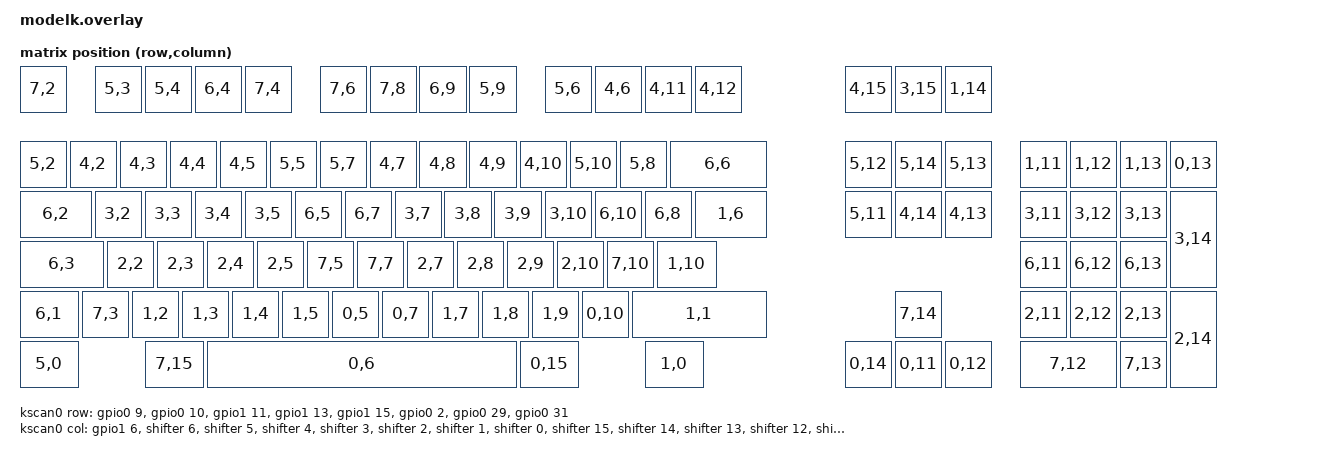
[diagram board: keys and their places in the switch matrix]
#include <dt-bindings/zmk/matrix_transform.h>
#include <physical_layouts.dtsi>
#include <dt-bindings/zmk/ext_power.h>

/ {
	modelm_layout: modelm_layout {
		compatible = "zmk,physical-layout";
		display-name = "Model M 101";
		transform = <&default_transform>;
		kscan = <&kscan0>;
		keys  //                     w   h    x    y     rot    rx    ry
		// Function key row
		= <&key_physical_attrs 100 100    0    0       0     0     0> // ESC
		, <&key_physical_attrs 100 100  150    0       0     0     0> // F1
		, <&key_physical_attrs 100 100  250    0       0     0     0> // F2
		, <&key_physical_attrs 100 100  350    0       0     0     0> // F3
		, <&key_physical_attrs 100 100  450    0       0     0     0> // F4
		, <&key_physical_attrs 100 100  600    0       0     0     0> // F5
		, <&key_physical_attrs 100 100  700    0       0     0     0> // F6
		, <&key_physical_attrs 100 100  800    0       0     0     0> // F7
		, <&key_physical_attrs 100 100  900    0       0     0     0> // F8
		, <&key_physical_attrs 100 100 1050    0       0     0     0> // F9
		, <&key_physical_attrs 100 100 1150    0       0     0     0> // F10
		, <&key_physical_attrs 100 100 1250    0       0     0     0> // F11
		, <&key_physical_attrs 100 100 1350    0       0     0     0> // F12

		// Number row
		, <&key_physical_attrs 100 100    0  150       0     0     0> // `
		, <&key_physical_attrs 100 100  100  150       0     0     0> // 1
		, <&key_physical_attrs 100 100  200  150       0     0     0> // 2
		, <&key_physical_attrs 100 100  300  150       0     0     0> // 3
		, <&key_physical_attrs 100 100  400  150       0     0     0> // 4
		, <&key_physical_attrs 100 100  500  150       0     0     0> // 5
		, <&key_physical_attrs 100 100  600  150       0     0     0> // 6
		, <&key_physical_attrs 100 100  700  150       0     0     0> // 7
		, <&key_physical_attrs 100 100  800  150       0     0     0> // 8
		, <&key_physical_attrs 100 100  900  150       0     0     0> // 9
		, <&key_physical_attrs 100 100 1000  150       0     0     0> // 0
		, <&key_physical_attrs 100 100 1100  150       0     0     0> // -
		, <&key_physical_attrs 100 100 1200  150       0     0     0> // =
			, <&key_physical_attrs 200 100 1300  150       0     0     0> // Backspace

			// Top alpha row
			, <&key_physical_attrs 150 100    0  250       0     0     0> // Tab
			, <&key_physical_attrs 100 100  150  250       0     0     0> // Q
			, <&key_physical_attrs 100 100  250  250       0     0     0> // W
			, <&key_physical_attrs 100 100  350  250       0     0     0> // E
			, <&key_physical_attrs 100 100  450  250       0     0     0> // R
			, <&key_physical_attrs 100 100  550  250       0     0     0> // T
			, <&key_physical_attrs 100 100  650  250       0     0     0> // Y
			, <&key_physical_attrs 100 100  750  250       0     0     0> // U
			, <&key_physical_attrs 100 100  850  250       0     0     0> // I
			, <&key_physical_attrs 100 100  950  250       0     0     0> // O
			, <&key_physical_attrs 100 100 1050  250       0     0     0> // P
			, <&key_physical_attrs 100 100 1150  250       0     0     0> // [
			, <&key_physical_attrs 100 100 1250  250       0     0     0> // ]
			, <&key_physical_attrs 150 100 1350  250       0     0     0> // Enter (part 1)

			// Home row
			, <&key_physical_attrs 175 100    0  350       0     0     0> // Caps Lock
			, <&key_physical_attrs 100 100  175  350       0     0     0> // A
			, <&key_physical_attrs 100 100  275  350       0     0     0> // S
			, <&key_physical_attrs 100 100  375  350       0     0     0> // D
			, <&key_physical_attrs 100 100  475  350       0     0     0> // F
			, <&key_physical_attrs 100 100  575  350       0     0     0> // G
			, <&key_physical_attrs 100 100  675  350       0     0     0> // H
			, <&key_physical_attrs 100 100  775  350       0     0     0> // J
			, <&key_physical_attrs 100 100  875  350       0     0     0> // K
			, <&key_physical_attrs 100 100  975  350       0     0     0> // L
			, <&key_physical_attrs 100 100 1075  350       0     0     0> // ;
			, <&key_physical_attrs 100 100 1175  350       0     0     0> // '
			, <&key_physical_attrs 125 100 1275  350       0     0     0> // \

			// Bottom row
			, <&key_physical_attrs 125 100    0  450       0     0     0> // LShift
			, <&key_physical_attrs 100 100  125  450       0     0     0> // GUI
			, <&key_physical_attrs 100 100  225  450       0     0     0> // Z
			, <&key_physical_attrs 100 100  325  450       0     0     0> // X
			, <&key_physical_attrs 100 100  425  450       0     0     0> // C
			, <&key_physical_attrs 100 100  525  450       0     0     0> // V
			, <&key_physical_attrs 100 100  625  450       0     0     0> // B
			, <&key_physical_attrs 100 100  725  450       0     0     0> // N
			, <&key_physical_attrs 100 100  825  450       0     0     0> // M
			, <&key_physical_attrs 100 100  925  450       0     0     0> // ,
				, <&key_physical_attrs 100 100 1025  450       0     0     0> // .
				, <&key_physical_attrs 100 100 1125  450       0     0     0> // /
				, <&key_physical_attrs 275 100 1225  450       0     0     0> // RShift

				// Bottom row modifiers
				, <&key_physical_attrs 125 100    0  550       0     0     0> // LCtrl
				, <&key_physical_attrs 125 100  250  550       0     0     0> // LAlt
				, <&key_physical_attrs 625 100  375  550       0     0     0> // Space
				, <&key_physical_attrs 125 100 1000  550       0     0     0> // RAlt/Fn
				, <&key_physical_attrs 125 100 1250  550       0     0     0> // RCtrl

				// Middle column
				, <&key_physical_attrs 100 100 1650    0       0     0     0> // Print Screen
				, <&key_physical_attrs 100 100 1750    0       0     0     0> // Scroll Lock
				, <&key_physical_attrs 100 100 1850    0       0     0     0> // Pause Break

				// Navigation cluster
				, <&key_physical_attrs 100 100 1650  150       0     0     0> // Insert
				, <&key_physical_attrs 100 100 1750  150       0     0     0> // Home
				, <&key_physical_attrs 100 100 1850  150       0     0     0> // Page Up
				, <&key_physical_attrs 100 100 1650  250       0     0     0> // Delete
				, <&key_physical_attrs 100 100 1750  250       0     0     0> // End
				, <&key_physical_attrs 100 100 1850  250       0     0     0> // Page Down

				// Arrow keys
				, <&key_physical_attrs 100 100 1750  450       0     0     0> // Up Arrow
				, <&key_physical_attrs 100 100 1650  550       0     0     0> // Left Arrow
				, <&key_physical_attrs 100 100 1750  550       0     0     0> // Down Arrow
				, <&key_physical_attrs 100 100 1850  550       0     0     0> // Right Arrow

				// Numpad
				, <&key_physical_attrs 100 100 2000  150       0     0     0> // Num Lock
				, <&key_physical_attrs 100 100 2100  150       0     0     0> // KP /
				, <&key_physical_attrs 100 100 2200  150       0     0     0> // KP *
				, <&key_physical_attrs 100 100 2300  150       0     0     0> // KP -
				, <&key_physical_attrs 100 100 2000  250       0     0     0> // KP 7
				, <&key_physical_attrs 100 100 2100  250       0     0     0> // KP 8
				, <&key_physical_attrs 100 100 2200  250       0     0     0> // KP 9
				, <&key_physical_attrs 100 200 2300  250       0     0     0> // KP +
				, <&key_physical_attrs 100 100 2000  350       0     0     0> // KP 4
				, <&key_physical_attrs 100 100 2100  350       0     0     0> // KP 5
				, <&key_physical_attrs 100 100 2200  350       0     0     0> // KP 6
				, <&key_physical_attrs 100 100 2000  450       0     0     0> // KP 1
				, <&key_physical_attrs 100 100 2100  450       0     0     0> // KP 2
				, <&key_physical_attrs 100 100 2200  450       0     0     0> // KP 3
				, <&key_physical_attrs 100 200 2300  450       0     0     0> // KP Enter
				, <&key_physical_attrs 200 100 2000  550       0     0     0> // KP 0
				, <&key_physical_attrs 100 100 2200  550       0     0     0> // KP .
				;
	};

	position_map {
		compatible = "zmk,physical-layout-position-map";

		modelm_layout {
			physical-layout = <&modelm_layout>;
			positions = <
				0 1 2 3 4 5 6 7 8 9 10 11 12
				13 14 15 16 17 18 19 20 21 22 23 24 25 26
				27 28 29 30 31 32 33 34 35 36 37 38 39 40
				41 42 43 44 45 46 47 48 49 50 51 52 53
				54 55 56 57 58 59 60 61 62 63 64 65 66
				67 68 69 70 71

				// Middle column
				72 73 74

				// Navigation cluster
				75 76 77 78 79 80

				// Arrow keys
				81 82 83 84

				// Numpad
				85 86 87 88
				89 90 91 92
				93 94 95
				96 97 98 99
				100 101
			>;
		};
	};

	chosen {
		zmk,kscan = &kscan0;
		zmk,physical-layout = &modelm_layout;
	};

	default_transform: keymap_transform_0 {
		compatible = "zmk,matrix-transform";
		columns = <16>;
		rows = <8>;

		map = <
			// Standard rows
			RC(7,2)   RC(5,3) RC(5,4) RC(6,4) RC(7,4) RC(7,6) RC(7,8) RC(6,9) RC(5,9) RC(5,6) RC(4,6) RC(4,11) RC(4,12)
			RC(5,2) RC(4,2) RC(4,3) RC(4,4) RC(4,5) RC(5,5) RC(5,7) RC(4,7) RC(4,8) RC(4,9) RC(4,10) RC(5,10) RC(5,8)    RC(6,6) /*BACKS*/
			RC(6,2) RC(3,2) RC(3,3) RC(3,4) RC(3,5) RC(6,5) RC(6,7) RC(3,7) RC(3,8) RC(3,9) RC(3,10) RC(6,10) RC(6,8)    RC(1,6) /*ENTER*/
			RC(6,3) RC(2,2) RC(2,3) RC(2,4) RC(2,5) RC(7,5) RC(7,7) RC(2,7) RC(2,8) RC(2,9) RC(2,10) RC(7,10) RC(1,10)  /* rest of ENTER */
			RC(6,1) RC(7,3) RC(1,2) RC(1,3) RC(1,4) RC(1,5) RC(0,5) RC(0,7) RC(1,7) RC(1,8) RC(1,9) RC(0,10) RC(1,1) /*SHIFT*/
			RC(5,0)         RC(7,15)        RC(0,6)         RC(0,15)        RC(1,0)
			/*CTRL          ALT             SPACE           ALT             CTRL*/


			// Middle column
			RC(4,15) RC(3,15) RC(1,14)

			RC(5,12) RC(5,14) RC(5,13)
			RC(5,11) RC(4,14) RC(4,13)

			RC(7,14)
			RC(0,14) RC(0,11) RC(0,12)


			// Numpad
			RC(1,11) RC(1,12) RC(1,13) RC(0,13)
			RC(3,11) RC(3,12) RC(3,13) RC(3,14)
			RC(6,11) RC(6,12) RC(6,13)
			RC(2,11) RC(2,12) RC(2,13) RC(2,14)
			RC(7,12)          RC(7,13)
		>;
	};

	behaviors {
	};

	kscan0: kscan {
		compatible = "zmk,kscan-gpio-matrix";
		diode-direction = "col2row";

		// 8 rows
		// Yes these pins are all over the place but they are correct
		row-gpios =
			<&gpio0 9  (GPIO_ACTIVE_HIGH | GPIO_PULL_DOWN)>,  // Row 7
			<&gpio0 10 (GPIO_ACTIVE_HIGH | GPIO_PULL_DOWN)>,  // Row 6
			<&gpio1 11 (GPIO_ACTIVE_HIGH | GPIO_PULL_DOWN)>,  // Row 5
			<&gpio1 13 (GPIO_ACTIVE_HIGH | GPIO_PULL_DOWN)>,  // Row 4
			<&gpio1 15 (GPIO_ACTIVE_HIGH | GPIO_PULL_DOWN)>,  // Row 3
			<&gpio0 2  (GPIO_ACTIVE_HIGH | GPIO_PULL_DOWN)>,  // Row 2
			<&gpio0 29 (GPIO_ACTIVE_HIGH | GPIO_PULL_DOWN)>,  // Row 1
			<&gpio0 31 (GPIO_ACTIVE_HIGH | GPIO_PULL_DOWN)>;  // Row 0

			// 16 columns via shift registers
			// Because of the way the shifter are laid out the column definition looks like this
			// It also means that they are consistent with  the matrix as laid out by phosphorglow
			// https://deskthority.net/viewtopic.php?p=451764#p451764
			col-gpios =
				<&gpio1 6 GPIO_ACTIVE_HIGH>,
					<&shifter 6  GPIO_ACTIVE_HIGH>,   // Col 1
					<&shifter 5  GPIO_ACTIVE_HIGH>,   // Col 5
					<&shifter 4  GPIO_ACTIVE_HIGH>,   // Col 4
					<&shifter 3  GPIO_ACTIVE_HIGH>,   // Col 3
					<&shifter 2  GPIO_ACTIVE_HIGH>,   // Col 2
					<&shifter 1  GPIO_ACTIVE_HIGH>,   // Col 1
					<&shifter 0  GPIO_ACTIVE_HIGH>,   // Col 0
					<&shifter 15 GPIO_ACTIVE_HIGH>,   // Col 15
					<&shifter 14 GPIO_ACTIVE_HIGH>,   // Col 14
					<&shifter 13 GPIO_ACTIVE_HIGH>,   // Col 13
					<&shifter 12 GPIO_ACTIVE_HIGH>,   // Col 12
					<&shifter 11 GPIO_ACTIVE_HIGH>,   // Col 11
					<&shifter 10 GPIO_ACTIVE_HIGH>,   // Col 10
					<&shifter 9  GPIO_ACTIVE_HIGH>,   // Col 9
					<&shifter 8  GPIO_ACTIVE_HIGH>;   // Col 8
	};

	leds {
		compatible = "gpio-leds";
		numlock_led: numlock_led {
			gpios = <&gpio1 4 GPIO_ACTIVE_LOW>;
			label = "Numlock LED";
		};
		capslock_led: capslock_led {
			gpios = <&gpio0 11 GPIO_ACTIVE_LOW>;
			label = "Capslock LED";
		};
		bluetooth_led: bluetooth_led {
			gpios = <&gpio1 0 GPIO_ACTIVE_LOW>;
			label = "Bluetooth LED";
		};
	};
};

&spi0 {
	compatible = "nordic,nrf-spim";
	status = "okay";
	cs-gpios = <&gpio0 17 GPIO_ACTIVE_LOW>;
	pinctrl-0 = <&spi0_default>;
	pinctrl-1 = <&spi0_sleep>;
	pinctrl-names = "default", "sleep";

	shifter: 595@0 {
		compatible = "zmk,gpio-595";
		status = "okay";
		reg = <0>;
		spi-max-frequency = <200000>;
		gpio-controller;
		#gpio-cells = <2>;
		ngpios = <16>; // Daisy chained so 16
	};
};

// From https://zmk.dev/docs/development/hardware-integration/pinctrl#pinctrl-node
&pinctrl {
	/* configuration for spi0 device, default state */
	spi0_default: spi0_default {
		/* node name is arbitrary */
		group1 {
			/* main role: configure P0.01 as SPI clock, P0.02 as SPI MOSI, P0.03 as SPI MISO */
			psels = <NRF_PSEL(SPIM_SCK, 0, 20)>,
				<NRF_PSEL(SPIM_MOSI, 0, 22)>;
		};
	};

	/* configuration for spi0 device, sleep state */
	spi0_sleep: spi0_sleep {
		group1 {
			/* main role: configure P0.01 as SPI clock, P0.02 as SPI MOSI, P0.03 as SPI MISO */
			psels = <NRF_PSEL(SPIM_SCK, 0, 20)>,
				<NRF_PSEL(SPIM_MOSI, 0, 22)>;
				low-power-enable;
		};
	};
};

